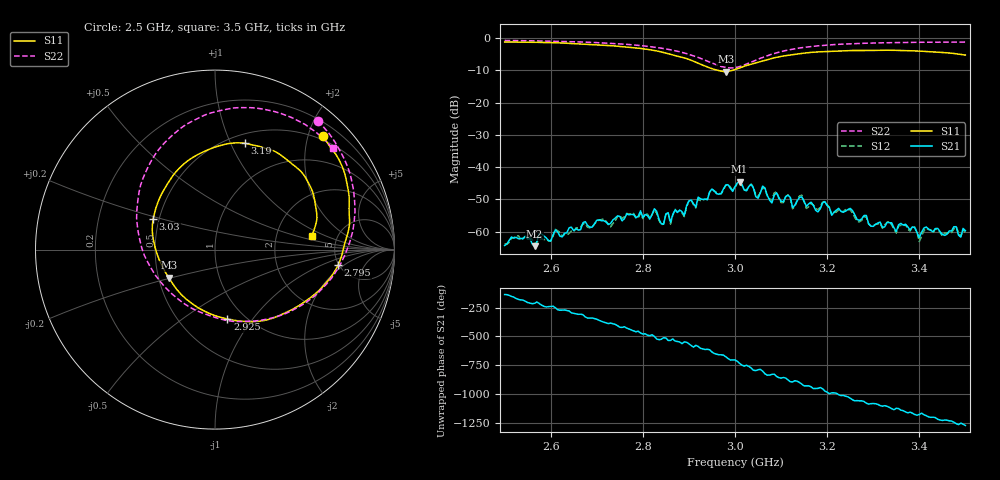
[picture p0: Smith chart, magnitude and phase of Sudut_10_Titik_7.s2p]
# Hz S RI R 50
! CMT, C1220, 16058040, 17.2.0/1
! Date: 15/08/2018 10:06:21
! Data: Format (Calibration Info)
! Freq  S11: Re/Im (F2)  S21: Re/Im (F2)  S12: Re/Im (F2)  S22: Re/Im (F2)
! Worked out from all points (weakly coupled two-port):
!   201 points, 2.5 GHz to 3.5 GHz, reference 50 ohm
!   highest |S21| = -44.56 dB at 3.01 GHz (marker M1); lowest = -64.5 dB at 2.565 GHz (marker M2)
!   lowest |S11| = -10.4 dB at 2.98 GHz (marker M3), VSWR 1.86, Z = 28.3 - j9.75 ohm
!   |S11| at or under -10 dB: 2.962 GHz to 2.995 GHz (32.78 MHz wide, 1.1 % of centre)
!   |S22| runs from -9.3 to -0.7 dB; largest |S21 - S12| = 0.00038
!   S11 on the Smith chart (normalised r, x): 2.5 GHz: 0.43, +2.26; 2.795 GHz: 4.89, -1.64; 2.925 GHz: 0.83, -0.76; 3.03 GHz: 0.46, +0.19; 3.19 GHz: 0.59, +1.13; 3.5 GHz: 3.22, +0.71
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2.5e9  0.5994 0.6308  -0.000433 -0.000424  -0.000495 -0.000421  0.5722 0.7171
2.565e9  0.6678 0.5381  -0.000504 0.000311  -0.000525 0.00037  0.6447 0.6343
2.575e9  0.6801 0.5203  -0.000769 0.000499  -0.000525 0.000505  0.6557 0.6186
2.6e9  0.7022 0.4772  -0.000368 0.000608  -0.000346 0.000622  0.6802 0.5795
2.67e9  0.7457 0.3103  0.000904 0.00103  0.000964 0.000883  0.745 0.4438
2.795e9  0.6847 -0.0877  -0.000728 -0.00196  -0.000646 -0.00181  0.761 0.0779
2.835e9  0.5762 -0.231  -0.00153 -0.000301  -0.00146 -0.000302  0.7019 -0.0753
2.925e9  0.069 -0.3871  -0.00142 0.00289  -0.00145 0.00264  0.2929 -0.3868
2.98e9  -0.2576 -0.1567  0.0039 0.00356  0.00368 0.00367  -0.1409 -0.321
3e9  -0.3237 -0.0218  0.00478 0.0013  0.00477 0.0011  -0.2772 -0.2104
3.01e9  -0.3413 0.044  0.00571 -0.00156  0.00544 -0.00136  -0.3331 -0.1414
3.03e9  -0.3445 0.1717  0.00375 -0.00329  0.00379 -0.0033  -0.409 0.0126
3.08e9  -0.219 0.4315  -0.000987 -0.00259  -0.00105 -0.00283  -0.403 0.3925
3.17e9  0.1041 0.5939  -0.00149 0.00207  -0.00164 0.00198  -0.076 0.741
3.19e9  0.1662 0.5922  -0.00154 0.0023  -0.00147 0.00244  -0.00183 0.7669
3.21e9  0.225 0.5797  5.11e-05 0.00179  0.00019 0.00181  0.0716 0.7833
3.335e9  0.488 0.4252  0.00108 -0.000844  0.00111 -0.000902  0.4075 0.7435
3.35e9  0.5056 0.3989  0.000697 -0.000724  0.000626 -0.000711  0.4367 0.7313
3.39e9  0.5435 0.3228  -0.000198 -0.00113  -0.000213 -0.00116  0.5091 0.6924
3.4e9  0.5495 0.303  -0.000136 -0.000798  -0.000151 -0.000683  0.5251 0.6805
3.415e9  0.5563 0.268  -0.000402 -0.0011  -0.000347 -0.00106  0.5491 0.6643
3.5e9  0.5392 0.0777  -0.000994 0.000279  -0.000923 0.000327  0.6564 0.565
